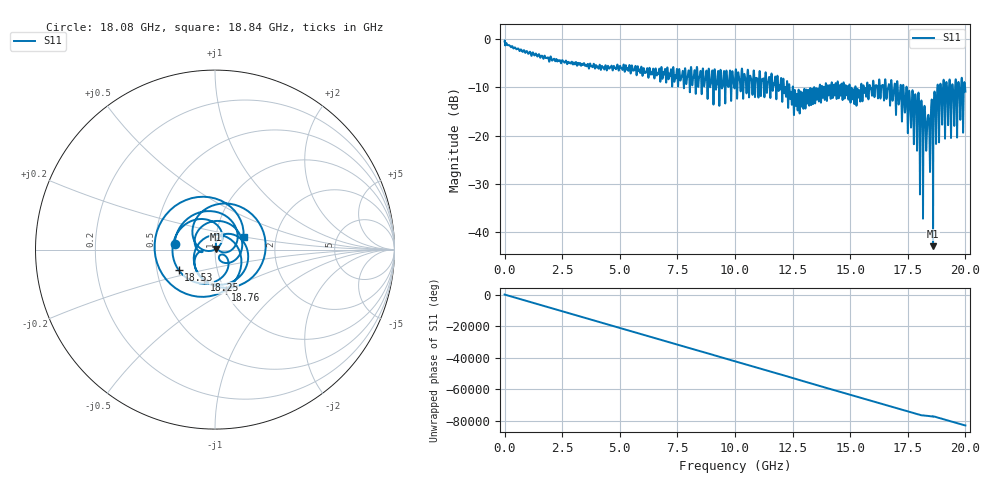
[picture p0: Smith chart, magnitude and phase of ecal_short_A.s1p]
! MS46122B
! 2250307/22442219
! 6/11/2025 1:17:27 PM
! C:\USERS\SPARKY\DOCUMENTS\VNA_DATA\JUNE11_2025\ECAL-SHORT.S1P
! CHANNEL.1
! TR.MEASUREMENT
! RAW.DATA
# GHZ S RI R 50.0
! FREQ.GHZ  S11RE  S11IM
!; PortSelection: Port_1
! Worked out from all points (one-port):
!   10001 points, 1 MHz to 20 GHz, reference 50 ohm
!   lowest |S11| = -43.0 dB at 18.6 GHz (marker M1), VSWR 1.01, Z = 50.6 + j0.352 ohm
!   |S11| at or under -10 dB: 12.52 GHz to 13.43 GHz (910.5 MHz wide, 7.02 % of centre); 14.98 GHz to 15.22 GHz (234.5 MHz wide, 1.55 % of centre); 17.45 GHz to 18.78 GHz (1.327 GHz wide, 7.32 % of centre) (the widest 3 of 78)
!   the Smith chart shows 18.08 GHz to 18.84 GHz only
!   S11 on the Smith chart (normalised r, x): 18.08 GHz: 0.63, +0.04; 18.25 GHz: 0.84, -0.29; 18.53 GHz: 0.65, -0.16; 18.76 GHz: 1.01, -0.48; 18.84 GHz: 1.36, +0.20
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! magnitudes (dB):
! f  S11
! 1 MHz  -0.4
! 2.501 GHz  -4.3
! 5.001 GHz  -5.6
! 7.501 GHz  -7.1
! 10 GHz  -8.9
! 11.66 GHz  -9.3
! 12.5 GHz  -10.2
! 15 GHz  -12.1
! 16.45 GHz  -11.1
! 17.5 GHz  -19.4
! 17.83 GHz  -11.4
! 17.9 GHz  -22.8
! 17.96 GHz  -11.1
! 18.03 GHz  -31.0
! 18.08 GHz  -12.9
! 18.16 GHz  -34.2
! 18.25 GHz  -14.9
! 18.3 GHz  -23.1
! 18.53 GHz  -12.7
! 18.6 GHz  -43.0
! 18.66 GHz  -10.8
! 18.72 GHz  -20.6
! 18.76 GHz  -12.7
! 18.84 GHz  -15.1
! 19.19 GHz  -9.0
! 19.25 GHz  -17.6
! 19.45 GHz  -9.5
! 20 GHz  -10.9
